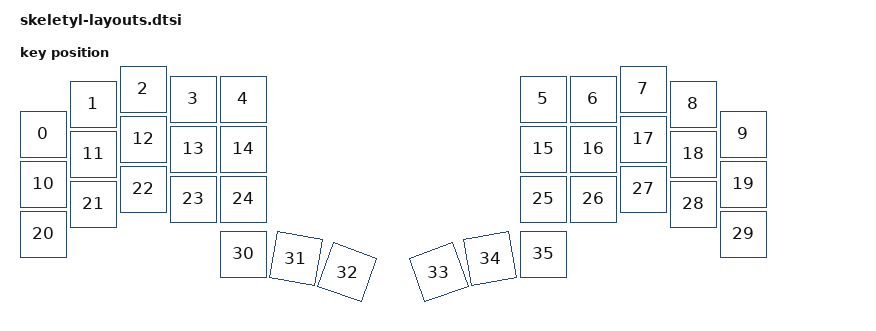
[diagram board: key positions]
#include <physical_layouts.dtsi>

/ {
    physical_layout0: physical_layout_0 {
        compatible = "zmk,physical-layout";
        display-name = "default";

        kscan = <&kscan0>;
        transform = <&matrix_transform0>;

        keys  //                     w   h    x    y     rot    rx    ry
            = <&key_physical_attrs 100 100    0   90       0     0     0>
            , <&key_physical_attrs 100 100  100   30       0     0     0>
            , <&key_physical_attrs 100 100  200    0       0     0     0>
            , <&key_physical_attrs 100 100  300   20       0     0     0>
            , <&key_physical_attrs 100 100  400   20       0     0     0>
            , <&key_physical_attrs 100 100 1000   20       0     0     0>
            , <&key_physical_attrs 100 100 1100   20       0     0     0>
            , <&key_physical_attrs 100 100 1200    0       0     0     0>
            , <&key_physical_attrs 100 100 1300   30       0     0     0>
            , <&key_physical_attrs 100 100 1400   90       0     0     0>
            , <&key_physical_attrs 100 100    0  190       0     0     0>
            , <&key_physical_attrs 100 100  100  130       0     0     0>
            , <&key_physical_attrs 100 100  200  100       0     0     0>
            , <&key_physical_attrs 100 100  300  120       0     0     0>
            , <&key_physical_attrs 100 100  400  120       0     0     0>
            , <&key_physical_attrs 100 100 1000  120       0     0     0>
            , <&key_physical_attrs 100 100 1100  120       0     0     0>
            , <&key_physical_attrs 100 100 1200  100       0     0     0>
            , <&key_physical_attrs 100 100 1300  130       0     0     0>
            , <&key_physical_attrs 100 100 1400  190       0     0     0>
            , <&key_physical_attrs 100 100    0  290       0     0     0>
            , <&key_physical_attrs 100 100  100  230       0     0     0>
            , <&key_physical_attrs 100 100  200  200       0     0     0>
            , <&key_physical_attrs 100 100  300  220       0     0     0>
            , <&key_physical_attrs 100 100  400  220       0     0     0>
            , <&key_physical_attrs 100 100 1000  220       0     0     0>
            , <&key_physical_attrs 100 100 1100  220       0     0     0>
            , <&key_physical_attrs 100 100 1200  200       0     0     0>
            , <&key_physical_attrs 100 100 1300  230       0     0     0>
            , <&key_physical_attrs 100 100 1400  290       0     0     0>
            , <&key_physical_attrs 100 100  400  330       0     0     0>
            , <&key_physical_attrs 100 100  400  330    1000   450   990>
            , <&key_physical_attrs 100 100  400  330    2000   450   990>
            , <&key_physical_attrs 100 100 1000  330 (-2000)  1050   990>
            , <&key_physical_attrs 100 100 1000  330 (-1000)  1050   990>
            , <&key_physical_attrs 100 100 1000  330       0     0     0>
            ;
    };
};
